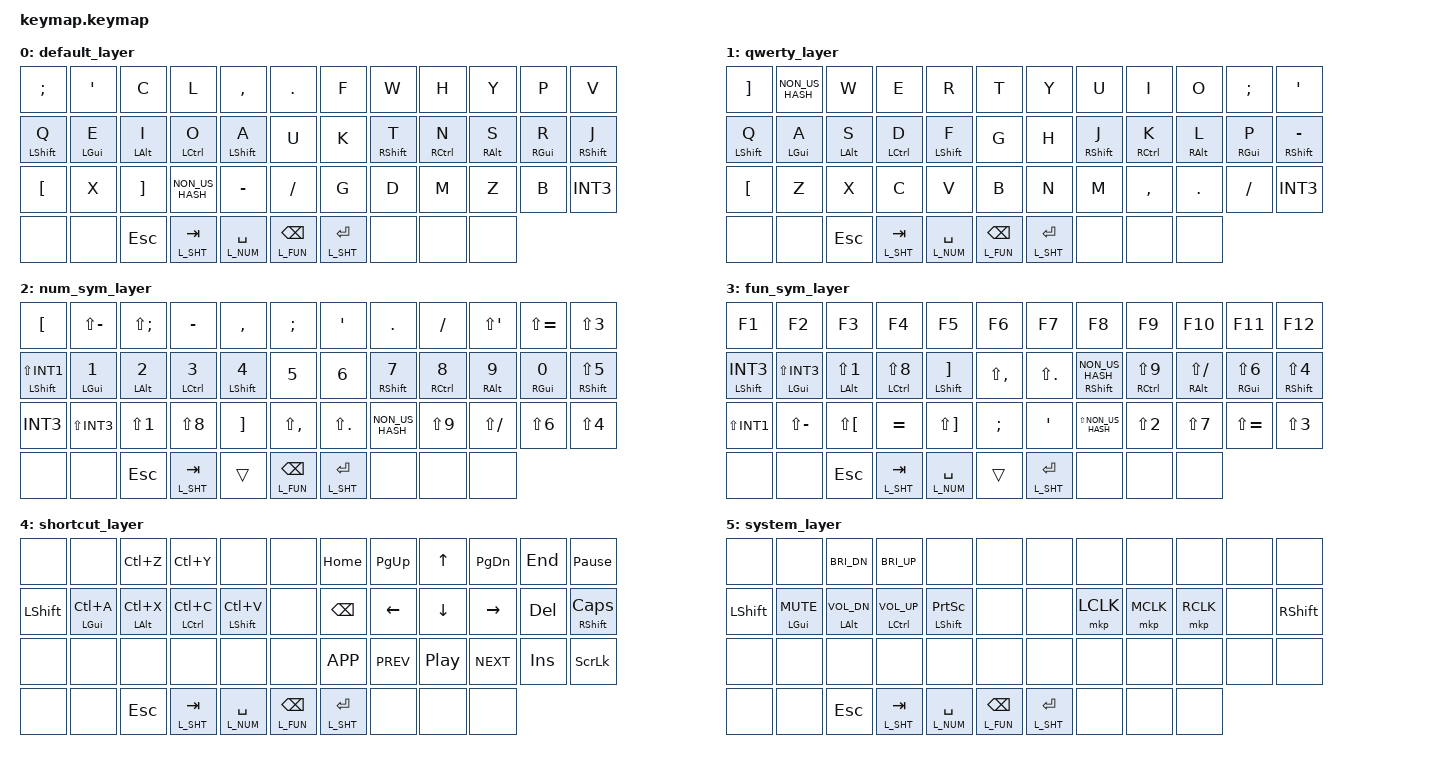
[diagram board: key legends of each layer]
#include <behaviors.dtsi>
#include <dt-bindings/zmk/keys.h>
#include <dt-bindings/zmk/mouse.h>

// レイヤー定義
#define L_DEF 0
#define L_QWE 1
#define L_NUM 2
#define L_FUN 3
#define L_SHT 4
#define L_SYS 5

// --- JIS配列環境用定義 ---
#define JIS_CARET EQUAL
#define JIS_AMPS  LS(N6)
#define JIS_ASTRK LS(SQT)
#define JIS_LPAR  LS(N8)
#define JIS_RPAR  LS(N9)
#define JIS_EQL   LS(MINUS)
#define JIS_PLUS  LS(SEMI)
#define JIS_LT    LS(COMMA)
#define JIS_GT    LS(DOT)
#define JIS_QMARK LS(SLASH)
#define JIS_UNDR  LS(INT1)
#define JIS_PIPE  LS(INT3)
#define JIS_BSLH  INT3
#define JIS_AT    LBKT
#define JIS_LBKT  RBKT
#define JIS_RBKT  NON_US_HASH
#define JIS_LBRC  LS(RBKT)
#define JIS_RBRC  LS(NON_US_HASH)
#define JIS_COLON SQT
#define JIS_SEMI  SEMI
#define JIS_QUOT  LS(N7)
#define JIS_DQUOT LS(N2)
#define JIS_GRV   LS(LBKT)
#define JIS_TILDE LS(EQUAL)
#define JIS_DLLR  LS(N4)
#define JIS_PRCNT LS(N5)
#define JIS_EXCL  LS(N1)
#define JIS_HASH  LS(N3)

/ {
    behaviors {
        hm: homerow_mods {
            compatible = "zmk,behavior-hold-tap";
            #binding-cells = <2>;
            tapping-term-ms = <280>;
            quick-tap-ms = <175>;
            flavor = "tap-preferred";
            bindings = <&kp>, <&kp>;
            require-prior-idle-ms = <125>;
        };
    };

    combos {
        compatible = "zmk,combos";

        combo_lang2 { timeout-ms = <30>; key-positions = <14 15>; bindings = <&kp LANG2>; layers = <L_DEF L_QWE>; };
        combo_lang1 { timeout-ms = <30>; key-positions = <20 21>; bindings = <&kp LANG1>; layers = <L_DEF L_QWE>; };

        // 2と3の位置で 「！」
        combo_excl { 
            timeout-ms = <30>; 
            key-positions = <2 3>; 
            bindings = <&kp JIS_EXCL>; 
            layers = <L_DEF L_QWE>; 
        };
        // 8と9の位置で 「？」
        combo_qmark { 
            timeout-ms = <30>; 
            key-positions = <8 9>; 
            bindings = <&kp JIS_QMARK>; 
            layers = <L_DEF L_QWE>; 
        };

        combo_to_qwerty { timeout-ms = <60>; key-positions = <14 15 16>; bindings = <&to L_QWE>; layers = <L_DEF>; };
        combo_to_def    { timeout-ms = <60>; key-positions = <19 20 21>; bindings = <&to L_DEF>; layers = <L_QWE>; };
    };

    conditional_layers {
        compatible = "zmk,conditional-layers";
        tri_layer { if-layers = <L_NUM L_FUN>; then-layer = <L_SYS>; };
    };

    keymap {
        compatible = "zmk,keymap";

        default_layer {
            bindings = <
&kp JIS_SEMI  &kp JIS_COLON  &kp C          &kp L          &kp COMMA       &kp DOT         &kp F          &kp W          &kp H          &kp Y         &kp P          &kp V
&hm LSHFT Q   &hm LGUI E     &hm LALT I     &hm LCTRL O    &hm LSHFT A     &kp U           &kp K          &hm RSHFT T    &hm RCTRL N    &hm RALT S    &hm RGUI R     &hm RSHFT J
&kp JIS_AT    &kp X          &kp JIS_LBKT   &kp JIS_RBKT   &kp MINUS       &kp SLASH       &kp G          &kp D          &kp M          &kp Z         &kp B          &kp JIS_BSLH
&none         &none          &kp ESC        &lt L_SHT TAB  &lt L_NUM SPACE &lt L_FUN BSPC  &lt L_SHT RET  &none          &none          &none
            >;
        };

        qwerty_layer {
            bindings = <
&kp JIS_LBKT  &kp JIS_RBKT   &kp W          &kp E          &kp R           &kp T           &kp Y          &kp U          &kp I          &kp O         &kp JIS_SEMI   &kp JIS_COLON
&hm LSHFT Q   &hm LGUI A     &hm LALT S     &hm LCTRL D    &hm LSHFT F     &kp G           &kp H          &hm RSHFT J    &hm RCTRL K    &hm RALT L    &hm RGUI P     &hm RSHFT MINUS
&kp JIS_AT    &kp Z          &kp X          &kp C          &kp V           &kp B           &kp N          &kp M          &kp COMMA      &kp DOT       &kp SLASH      &kp JIS_BSLH
&none         &none          &kp ESC        &lt L_SHT TAB  &lt L_NUM SPACE &lt L_FUN BSPC  &lt L_SHT RET  &none          &none          &none
            >;
        };

        num_sym_layer {
            bindings = <
&kp JIS_AT    &kp JIS_EQL    &kp JIS_PLUS   &kp MINUS      &kp COMMA       &kp JIS_SEMI    &kp JIS_COLON  &kp DOT        &kp SLASH      &kp JIS_ASTRK &kp JIS_TILDE  &kp JIS_HASH
&hm LSHFT JIS_UNDR  &hm LGUI N1    &hm LALT N2    &hm LCTRL N3   &hm LSHFT N4    &kp N5          &kp N6         &hm RSHFT N7   &hm RCTRL N8   &hm RALT N9   &hm RGUI N0    &hm RSHFT JIS_PRCNT
&kp JIS_BSLH  &kp JIS_PIPE   &kp JIS_EXCL   &kp JIS_LPAR   &kp JIS_LBKT    &kp JIS_LT      &kp JIS_GT     &kp JIS_RBKT   &kp JIS_RPAR   &kp JIS_QMARK &kp JIS_AMPS   &kp JIS_DLLR
&none         &none          &kp ESC        &lt L_SHT TAB  &trans          &lt L_FUN BSPC  &lt L_SHT RET  &none          &none          &none
            >;
        };

        fun_sym_layer {
            bindings = <
&kp F1        &kp F2         &kp F3         &kp F4         &kp F5          &kp F6          &kp F7         &kp F8         &kp F9         &kp F10       &kp F11        &kp F12
&hm LSHFT JIS_BSLH  &hm LGUI JIS_PIPE &hm LALT JIS_EXCL &hm LCTRL JIS_LPAR &hm LSHFT JIS_LBKT &kp JIS_LT &kp JIS_GT  &hm RSHFT JIS_RBKT &hm RCTRL JIS_RPAR &hm RALT JIS_QMARK &hm RGUI JIS_AMPS &hm RSHFT JIS_DLLR
&kp JIS_UNDR  &kp JIS_EQL    &kp JIS_GRV    &kp JIS_CARET  &kp JIS_LBRC    &kp JIS_SEMI    &kp JIS_COLON  &kp JIS_RBRC   &kp JIS_DQUOT  &kp JIS_QUOT  &kp JIS_TILDE  &kp JIS_HASH
&none         &none          &kp ESC        &lt L_SHT TAB  &lt L_NUM SPACE &trans          &lt L_SHT RET  &none          &none          &none
            >;
        };

        shortcut_layer {
            bindings = <
&none         &none          &kp LC(Z)      &kp LC(Y)      &none           &none           &kp HOME       &kp PG_UP      &kp UP         &kp PG_DN     &kp END        &kp PAUSE_BREAK
&kp LSHFT     &hm LGUI LC(A) &hm LALT LC(X) &hm LCTRL LC(C) &hm LSHFT LC(V) &none          &kp BSPC       &kp LEFT       &kp DOWN       &kp RIGHT     &kp DEL        &hm RSHFT CAPS
&none         &none          &none          &none          &none           &none           &kp K_APP      &kp C_PREV     &kp C_PP       &kp C_NEXT    &kp INS        &kp SLCK
&none         &none          &kp ESC        &lt L_SHT TAB  &lt L_NUM SPACE &lt L_FUN BSPC  &lt L_SHT RET  &none          &none          &none
            >;
        };

        system_layer {
            bindings = <
&none         &none          &kp C_BRI_DN   &kp C_BRI_UP   &none           &none           &none          &none          &none          &none         &none          &none
&kp LSHFT     &hm LGUI C_MUTE &hm LALT C_VOL_DN &hm LCTRL C_VOL_UP &hm LSHFT PSCRN &none   &none          &mkp LCLK      &mkp MCLK      &mkp RCLK     &none          &kp RSHFT
&none         &none          &none          &none          &none           &none           &none          &none          &none          &none         &none          &none
&none         &none          &kp ESC        &lt L_SHT TAB  &lt L_NUM SPACE &lt L_FUN BSPC  &lt L_SHT RET  &none          &none          &none
            >;
        };
    };
};
